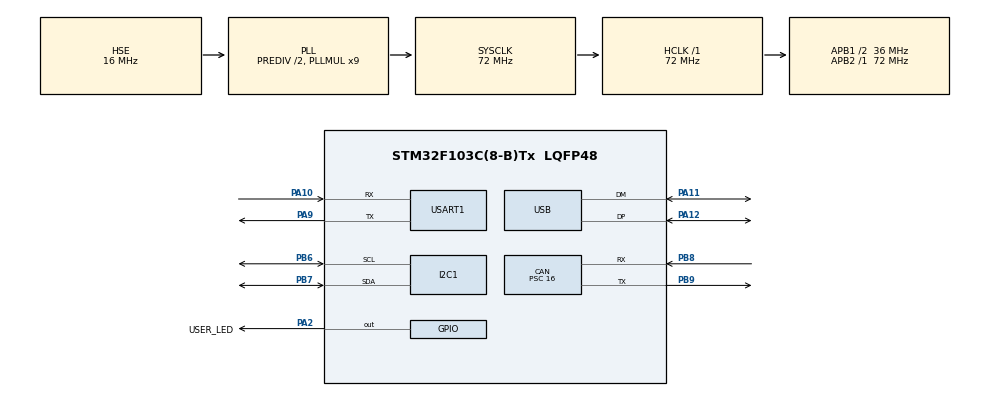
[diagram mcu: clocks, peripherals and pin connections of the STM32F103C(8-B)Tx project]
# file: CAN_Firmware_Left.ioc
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CAN.BS1=CAN_BS1_4TQ
CAN.BS2=CAN_BS2_4TQ
CAN.CalculateBaudRate=250000
CAN.CalculateTimeBit=4000
CAN.CalculateTimeQuantum=444.44444444444446
CAN.Mode=CAN_MODE_NORMAL
CAN.NART=ENABLE
CAN.Prescaler=16
CAN.SJW=CAN_SJW_2TQ
Mcu.Family=STM32F1
Mcu.Name=STM32F103C(8-B)Tx
Mcu.Package=LQFP48
NVIC.PriorityGroup=NVIC_PRIORITYGROUP_4
NVIC.USB_LP_CAN1_RX0_IRQn=true\:0\:0\:false\:false\:true\:true\:true\:true
PA10.Mode=Asynchronous
PA10.Signal=USART1_RX
PA11.Mode=Device
PA11.Signal=USB_DM
PA12.Mode=Device
PA12.Signal=USB_DP
PA13.Mode=Serial_Wire
PA13.Signal=SYS_JTMS-SWDIO
PA14.Mode=Serial_Wire
PA14.Signal=SYS_JTCK-SWCLK
PA2.GPIO_Label=USER_LED
PA2.Signal=GPIO_Output
PA9.Mode=Asynchronous
PA9.Signal=USART1_TX
PB6.Mode=I2C
PB6.Signal=I2C1_SCL
PB7.Mode=I2C
PB7.Signal=I2C1_SDA
PB8.GPIO_PuPd=GPIO_PULLUP
PB8.Mode=CAN_Activate
PB8.Signal=CAN_RX
PB9.Mode=CAN_Activate
PB9.Signal=CAN_TX
PD0-OSC_IN.Mode=HSE-External-Oscillator
PD0-OSC_IN.Signal=RCC_OSC_IN
PD1-OSC_OUT.Mode=HSE-External-Oscillator
PD1-OSC_OUT.Signal=RCC_OSC_OUT
ProjectManager.HeapSize=0x200
ProjectManager.StackSize=0x400
ProjectManager.TargetToolchain=Makefile
RCC.AHBFreq_Value=72000000
RCC.APB1CLKDivider=RCC_HCLK_DIV2
RCC.APB1Freq_Value=36000000
RCC.APB1TimFreq_Value=72000000
RCC.APB2Freq_Value=72000000
RCC.APB2TimFreq_Value=72000000
RCC.HCLKFreq_Value=72000000
RCC.HSEDivPLL=RCC_HSE_PREDIV_DIV2
RCC.HSE_VALUE=16000000
RCC.PLLMUL=RCC_PLL_MUL9
RCC.PLLSourceVirtual=RCC_PLLSOURCE_HSE
RCC.SYSCLKFreq_VALUE=72000000
RCC.SYSCLKSource=RCC_SYSCLKSOURCE_PLLCLK
RCC.USBFreq_Value=48000000
RCC.USBPrescaler=RCC_USBCLKSOURCE_PLL_DIV1_5
USART1.VirtualMode=VM_ASYNC
board=custom

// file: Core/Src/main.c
/* USER CODE BEGIN Header */
/**
  ******************************************************************************
  * @file           : main.c
  * @brief          : Main program body
  ******************************************************************************
  * @attention
  *
  * Copyright (c) 2025 STMicroelectronics.
  * All rights reserved.
  *
  * This software is licensed under terms that can be found in the LICENSE file
  * in the root directory of this software component.
  * If no LICENSE file comes with this software, it is provided AS-IS.
  *
  ******************************************************************************
  */
/* USER CODE END Header */
#include "main.h"
#include "can.h"
#include "i2c.h"
#include "usart.h"
#include "usb.h"
#include "gpio.h"

/* USER CODE BEGIN PV */

CAN_TxHeaderTypeDef   TxHeader;
CAN_RxHeaderTypeDef   RxHeader; //CAN Bus Transmit Header
uint8_t               TxData[8];
uint32_t              TxMailbox;
CAN_FilterTypeDef canfil; //CAN Bus Filter
uint32_t canMailbox; //CAN Bus Mail box variable

uint8_t canRX[8] = {0x0,0x0,0x0,0x0,0x0,0x0,0x0,0x0};  //CAN Bus Receive Buffer

const char *error_messages[16] = {
    "ERR0: Identification error.",
    "ERR1: Over voltage.",
    "ERR2: Low voltage.",
    "ERR3: Reserved.",
    "ERR4: Stall.",
    "ERR5: Internal volts fault.",
    "ERR6: Over temperature.",
    "ERR7: Throttle error at power-up.",
    "ERR8: Reserved.",
    "ERR9: Internal reset.",
    "ERR10: Hall throttle open or short-circuit.",
    "ERR11: Angle sensor error.",
    "ERR12: Reserved.",
    "ERR13: Reserved.",
    "ERR14: Motor over-temperature.",
    "ERR15: Hall galvanometer sensor error."
};

/* USER CODE END PV */

void SystemClock_Config(void);
/* USER CODE BEGIN PFP */
#define PUTCHAR_PROTOTYPE int __io_putchar(int ch)

/* USER CODE END PFP */

int main(void)
{

  /* MCU Configuration--------------------------------------------------------*/

  /* Reset of all peripherals, Initializes the Flash interface and the Systick. */
  HAL_Init();

  /* Configure the system clock */
  SystemClock_Config();

  /* Initialize all configured peripherals */
  MX_GPIO_Init();
  MX_CAN_Init();
  MX_I2C1_Init();
  MX_USART1_UART_Init();
  MX_USB_PCD_Init();
  /* USER CODE BEGIN 2 */

  CAN_FilterTypeDef canfilterconfig;

  canfil.FilterBank = 0;
  canfil.FilterMode = CAN_FILTERMODE_IDMASK;
  canfil.FilterFIFOAssignment = CAN_RX_FIFO0;
  canfil.FilterIdHigh = 0;
  canfil.FilterIdLow = 0;
  canfil.FilterMaskIdHigh = 0;
  canfil.FilterMaskIdLow = 0;
  canfil.FilterScale = CAN_FILTERSCALE_32BIT;
  canfil.FilterActivation = ENABLE;
  canfil.SlaveStartFilterBank = 14;

  TxHeader.IDE = CAN_ID_STD;
  TxHeader.StdId = 0x446;
  TxHeader.RTR = CAN_RTR_DATA;
  TxHeader.DLC = 8;

  TxData[0] = 0x01;
  TxData[1] = 0x02;
  TxData[2] = 0x03;
  TxData[3] = 0x04;
  TxData[4] = 0x05;
  TxData[5] = 0x06;
  TxData[6] = 0x07;
  TxData[7] = 0x08;

/**
  * @brief Print CANBUS Error messages
  * @author Dean
  * @retval None
  */

  HAL_CAN_ConfigFilter(&hcan,&canfil);
  HAL_CAN_Start(&hcan);
  HAL_CAN_ActivateNotification(&hcan,CAN_IT_RX_FIFO0_MSG_PENDING);

  if (HAL_CAN_ActivateNotification(&hcan, CAN_IT_RX_FIFO0_MSG_PENDING) != HAL_OK)
  {
	  Error_Handler();
  }

  /* USER CODE END 2 */

  /* Infinite loop */
  while (1)
  {

  }
}

void SystemClock_Config(void)
{
  RCC_OscInitTypeDef RCC_OscInitStruct = {0};
  RCC_ClkInitTypeDef RCC_ClkInitStruct = {0};
  RCC_PeriphCLKInitTypeDef PeriphClkInit = {0};

  /** Initializes the RCC Oscillators according to the specified parameters
  * in the RCC_OscInitTypeDef structure.
  */
  RCC_OscInitStruct.OscillatorType = RCC_OSCILLATORTYPE_HSE;
  RCC_OscInitStruct.HSEState = RCC_HSE_ON;
  RCC_OscInitStruct.HSEPredivValue = RCC_HSE_PREDIV_DIV2;
  RCC_OscInitStruct.HSIState = RCC_HSI_ON;
  RCC_OscInitStruct.PLL.PLLState = RCC_PLL_ON;
  RCC_OscInitStruct.PLL.PLLSource = RCC_PLLSOURCE_HSE;
  RCC_OscInitStruct.PLL.PLLMUL = RCC_PLL_MUL9;
  if (HAL_RCC_OscConfig(&RCC_OscInitStruct) != HAL_OK)
  {
    Error_Handler();
  }

  /** Initializes the CPU, AHB and APB buses clocks
  */
  RCC_ClkInitStruct.ClockType = RCC_CLOCKTYPE_HCLK|RCC_CLOCKTYPE_SYSCLK
                              |RCC_CLOCKTYPE_PCLK1|RCC_CLOCKTYPE_PCLK2;
  RCC_ClkInitStruct.SYSCLKSource = RCC_SYSCLKSOURCE_PLLCLK;
  RCC_ClkInitStruct.AHBCLKDivider = RCC_SYSCLK_DIV1;
  RCC_ClkInitStruct.APB1CLKDivider = RCC_HCLK_DIV2;
  RCC_ClkInitStruct.APB2CLKDivider = RCC_HCLK_DIV1;

  if (HAL_RCC_ClockConfig(&RCC_ClkInitStruct, FLASH_LATENCY_2) != HAL_OK)
  {
    Error_Handler();
  }
  PeriphClkInit.PeriphClockSelection = RCC_PERIPHCLK_USB;
  PeriphClkInit.UsbClockSelection = RCC_USBCLKSOURCE_PLL_DIV1_5;
  if (HAL_RCCEx_PeriphCLKConfig(&PeriphClkInit) != HAL_OK)
  {
    Error_Handler();
  }
}

/* USER CODE BEGIN 4 */
PUTCHAR_PROTOTYPE
{
  /* Place your implementation of fputc here */
  /* e.g. write a character to the USART1 and Loop until the end of transmission */
  HAL_UART_Transmit(&huart1, (uint8_t *)&ch, 1, 0xFFFF);

  return ch;
}

void send_uart_message(char *message) {
    HAL_UART_Transmit(&huart1, (uint8_t *)message, strlen(message), HAL_MAX_DELAY);
}

/**
  * @brief Print CANBUS Error messages
  * @author Dean
  * @retval None
  */
void HAL_CAN_RxFifo0MsgPendingCallback(CAN_HandleTypeDef *hcan1)
{
    if (HAL_CAN_GetRxMessage(hcan1, CAN_RX_FIFO0, &RxHeader, canRX) != HAL_OK)
    {
        printf("CAN Message Read Failed. HAL ERROR... \r\n");
        return;
    }
    else
    {
        HAL_GPIO_TogglePin(USER_LED_GPIO_Port, USER_LED_Pin);
        if (RxHeader.IDE == CAN_ID_STD)
        {
            printf("Message has standard ID type...\r\n");
            printf("Message ID:\t%#lx\r\n", RxHeader.StdId);

            if(RxHeader.StdId == 0x6B0){ // BMS
              uint16_t pack_current     = (canRX[1] << 8) | canRX[0];
              uint16_t pack_voltage     = (canRX[3] << 8) | canRX[2];
              uint8_t pack_soc          = canRX[4];
              uint8_t pack_relay_state  = canRX[5];

              printf("Pack Current: %d\r\n", pack_current);
              printf("Pack Voltage: %d\r\n", pack_voltage);
              printf("Pack SoC: %d\r\n", pack_soc);
              printf("Pack Relay Status: %d\r\n", pack_relay_state);

            }
            else if(RxHeader.StdId == 0x6B1){ // BMS
              uint32_t pack_DCL = (canRX[3]<<24) | (canRX[2]<<16) | (canRX[1]<<8) | canRX[0];
              uint8_t high_temp_derating = canRX[4];
              uint8_t low_temp_derating   = canRX[5];

              printf("Pack DCL: %d\r\n", pack_DCL);
              printf("High Temp Derating: %d\r\n", high_temp_derating);
              printf("low_temp_derating: %d\r\n", low_temp_derating);
            }
            else
            {
            printf("ERROR: Unknown IDE type\r\n");
            return;
            }
        }
        else if (RxHeader.IDE == CAN_ID_EXT)
        {
            printf("Message has extended ID type...\r\n");
            printf("Message ID:\t%#lx\r\n", RxHeader.ExtId);

            if (RxHeader.ExtId == 0x0CF11E05)
            {
                uint16_t RPM = (canRX[1] << 8) | canRX[0];
                uint16_t Current = (canRX[3] << 8) | canRX[2];
                uint16_t Voltage = (canRX[5] << 8) | canRX[4];

                printf("R  P  M = %u rpm\r\n", RPM);
                printf("Current = %u A\r\n", Current/ 10);
                printf("Voltage = %u V\r\n", Voltage / 10);

                for (uint8_t i = 0; i < 16; i++)
                {
                    if (((canRX[7] << 8) | canRX[6]) & (1 << i))
                    {
                        printf("%s\r\n", error_messages[i]);
                    }
                }
            }

            else if (RxHeader.ExtId == 0x0CF11F05)
            {

                uint8_t throttle_signal = canRX[0];
                int8_t controller_temp = canRX[1] - 40;
                int8_t motor_temp = canRX[2] - 30;
                printf("Throttle Signal: %d V\r\n", throttle_signal);
                printf("Controller Temperature: %d ℃\r\n", controller_temp);
                printf("Motor Temperature: %d ℃\r\n", motor_temp);

                if (canRX[4] & 0x01)
                    printf("Controller Command: Forward\r\n");
                else if (canRX[4] & 0x02)
                    printf("Controller Command: Backward\r\n");
                else if (canRX[4] & 0x03)
                    printf("Controller Command: Reserved\r\n");
                else printf("Controller Command: Neutral\r\n");

                if (((canRX[4] >> 2) & 0x03 )== 0x00)
                    printf("Feedback: Stationary\r\n");
                else if (((canRX[4] >> 2) & 0x03 ) == 0x01)
                    printf("Feedback: Forward\r\n");
                else if (((canRX[4] >> 2) & 0x03 ) == 0x02)
                    printf("Feedback: Backward\r\n");
                else
                    printf("Feedback: Reserved\r\n");

                printf("Switch Status:\r\n");
                printf("  Boost: %s\r\n", (canRX[5] & 0x80) ? "ON" : "OFF");
                printf("  Foot Switch: %s\r\n", (canRX[5] & 0x40) ? "ON" : "OFF");
                printf("  Forward Switch: %s\r\n", (canRX[5] & 0x20) ? "ON" : "OFF");
                printf("  Backward Switch: %s\r\n", (canRX[5] & 0x10) ? "ON" : "OFF");
                printf("  12V Brake Switch: %s\r\n", (canRX[5] & 0x08) ? "ON" : "OFF");
                printf("  Hall C: %s\r\n", (canRX[5] & 0x04) ? "ON" : "OFF");
                printf("  Hall B: %s\r\n", (canRX[5] & 0x02) ? "ON" : "OFF");
                printf("  Hall A: %s\r\n", (canRX[5] & 0x01) ? "ON" : "OFF");
            }
        }
        else
        {
            printf("ERROR: Unknown IDE type\r\n");
            return;
        }

        printf("Message length is %ld byte(s)\r\n", RxHeader.DLC);
        for (uint8_t i = 0; i < 8; i++)
        {
            printf("Byte %d: 0x%02X\r\n", i, canRX[i]);
        }
    }
}

/* USER CODE END 4 */

void Error_Handler(void)
{
  /* USER CODE BEGIN Error_Handler_Debug */
  /* User can add his own implementation to report the HAL error return state */
  __disable_irq();
  while (1)
  {
    HAL_GPIO_TogglePin(USER_LED_GPIO_Port, USER_LED_Pin);
    HAL_Delay(200);
  }
  /* USER CODE END Error_Handler_Debug */
}
